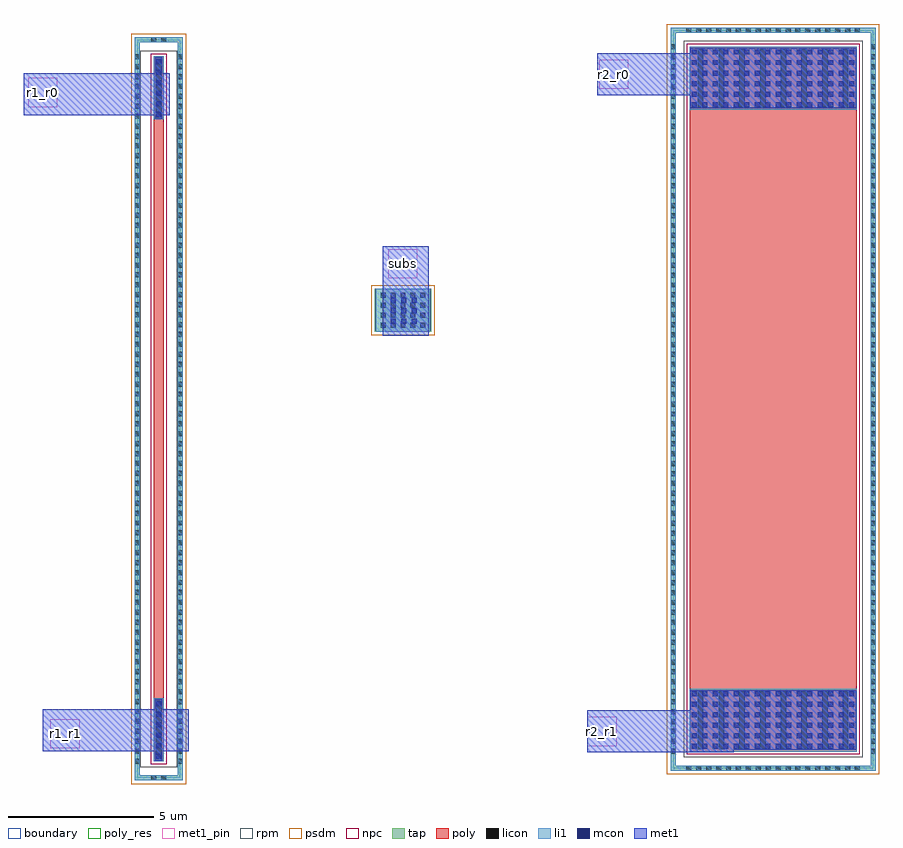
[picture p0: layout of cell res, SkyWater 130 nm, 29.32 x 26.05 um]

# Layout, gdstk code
import gdstk
lib = gdstk.Library(unit=1e-6, precision=1e-09)
def R(c, l, rs):  # rectangles x0, y0, x1, y1
    for r in rs: c.add(gdstk.rectangle(r[:2], r[2:], *l))
def A(c, l, x, y, w, h, nx, ny, dx, dy):  # array of equal rectangles
    R(c, l, [(x+i*dx, y+j*dy, x+i*dx+w, y+j*dy+h) for i in range(nx) for j in range(ny)])
tap = (65, 44)
poly_res = (66, 13)
poly = (66, 20)
licon = (66, 44)
li1 = (67, 20)
mcon = (67, 44)
met1_pin = (68, 16)
met1 = (68, 20)
rpm = (86, 20)
psdm = (94, 20)
npc = (95, 20)
boundary = (235, 4)

sky130_fd_pr__res_high_p = lib.new_cell('sky130_fd_pr__res_high_po_5p73_WUGB7G')
R(sky130_fd_pr__res_high_p, tap, [(-3.515,-12.73,3.515,-12.56), (-3.515,-12.56,-3.345,12.56), (3.345,-12.56,3.515,12.56), (-3.515,12.56,3.515,12.73)])
R(sky130_fd_pr__res_high_p, poly_res, [(-2.865,-10,2.865,10)])
R(sky130_fd_pr__res_high_p, poly, [(-2.865,-12.08,2.865,12.08)])
A(sky130_fd_pr__res_high_p, licon, -2.975, -12.73, 0.17, 0.17, 18, 2, 0.34, 25.29)
A(sky130_fd_pr__res_high_p, licon, -3.515, -12.155, 0.17, 0.17, 1, 72, 0, 0.34)
A(sky130_fd_pr__res_high_p, licon, 3.345, -12.155, 0.17, 0.17, 1, 72, 0, 0.34)
A(sky130_fd_pr__res_high_p, licon, -2.58, -12, 0.19, 2, 8, 2, 0.71, 22)
R(sky130_fd_pr__res_high_p, li1, [(-3.515,-12.73,3.515,-12.56), (-3.515,-12.56,-3.345,12.56), (3.345,-12.56,3.515,12.56), (-2.865,-12.08,2.865,-9.92), (-2.865,9.92,2.865,12.08), (-3.515,12.56,3.515,12.73)])
A(sky130_fd_pr__res_high_p, mcon, -2.785, -11.985, 0.17, 0.17, 16, 6, 0.36, 0.36)
A(sky130_fd_pr__res_high_p, mcon, -2.785, 10.01, 0.17, 0.17, 16, 6, 0.36, 0.36)
R(sky130_fd_pr__res_high_p, met1, [(-2.845,-12.02,2.845,-9.975), (-2.845,9.975,2.845,12.02)])
R(sky130_fd_pr__res_high_p, rpm, [(-3.065,-12.28,3.065,12.28)])
R(sky130_fd_pr__res_high_p, psdm, [(-3.64,-12.855,3.64,12.855)])
R(sky130_fd_pr__res_high_p, npc, [(-2.96,-12.175,2.96,12.175)])
R(sky130_fd_pr__res_high_p, boundary, [(-3.43,-12.645,3.43,12.645)])

c_sky130_fd_pr__res_high_p = lib.new_cell('sky130_fd_pr__res_high_po_0p35_QPS5FG')
R(c_sky130_fd_pr__res_high_p, tap, [(-0.825,-12.73,0.825,-12.56), (-0.825,-12.56,-0.655,12.56), (0.655,-12.56,0.825,12.56), (-0.825,12.56,0.825,12.73)])
R(c_sky130_fd_pr__res_high_p, poly_res, [(-0.175,-10,0.175,10)])
R(c_sky130_fd_pr__res_high_p, poly, [(-0.175,-12.08,0.175,12.08)])
A(c_sky130_fd_pr__res_high_p, licon, -0.825, -12.155, 0.17, 0.17, 1, 72, 0, 0.34)
A(c_sky130_fd_pr__res_high_p, licon, 0.655, -12.155, 0.17, 0.17, 1, 72, 0, 0.34)
R(c_sky130_fd_pr__res_high_p, licon, [(-0.255,-12.73,-0.085,-12.56), (0.085,-12.73,0.255,-12.56), (-0.095,-12,0.095,-10), (-0.095,10,0.095,12), (-0.255,12.56,-0.085,12.73), (0.085,12.56,0.255,12.73)])
R(c_sky130_fd_pr__res_high_p, li1, [(-0.825,-12.73,0.825,-12.56), (-0.825,-12.56,-0.655,12.56), (0.655,-12.56,0.825,12.56), (-0.175,-12.08,0.175,-9.92), (-0.175,9.92,0.175,12.08), (-0.825,12.56,0.825,12.73)])
A(c_sky130_fd_pr__res_high_p, mcon, -0.085, -11.985, 0.17, 0.17, 1, 6, 0, 0.36)
A(c_sky130_fd_pr__res_high_p, mcon, -0.085, 10.01, 0.17, 0.17, 1, 6, 0, 0.36)
R(c_sky130_fd_pr__res_high_p, met1, [(-0.125,-12.05,0.125,-9.945), (-0.125,9.945,0.125,12.05)])
R(c_sky130_fd_pr__res_high_p, rpm, [(-0.635,-12.28,0.635,12.28)])
R(c_sky130_fd_pr__res_high_p, psdm, [(-0.95,-12.855,0.95,12.855)])
R(c_sky130_fd_pr__res_high_p, npc, [(-0.27,-12.175,0.27,12.175)])
R(c_sky130_fd_pr__res_high_p, boundary, [(-0.74,-12.645,0.74,12.645)])

res = lib.new_cell('res')
R(res, tap, [(8.14,18.29,10.08,19.76)])
A(res, licon, 8.345, 18.43, 0.17, 0.17, 5, 4, 0.34, 0.34)
R(res, li1, [(8.18,18.29,10.04,19.76)])
A(res, mcon, 8.69, 18.56, 0.17, 0.17, 3, 3, 0.36, 0.36)
R(res, met1_pin, [(-2.97,4.01,-1.97,5.01), (15.43,4.09,16.43,5.09), (8.6,20.12,9.6,21.12), (-3.74,25.99,-2.74,26.99), (15.83,26.61,16.83,27.61)])
R(res, met1, [(15.43,3.88,20.44,5.32), (-3.24,3.92,1.77,5.36), (8.42,18.15,10,21.22), (-3.89,25.71,1.12,27.15), (15.77,26.4,20.78,27.84)])
R(res, psdm, [(8.015,18.165,10.205,19.885)])
res.add(gdstk.Reference(sky130_fd_pr__res_high_p, (21.795,15.98)))
res.add(gdstk.Reference(c_sky130_fd_pr__res_high_p, (0.74,15.645)))
res.add(gdstk.Label('r1_r0', (-3.24,26.49), layer=68, texttype=5))
res.add(gdstk.Label('r2_r0', (16.33,27.11), layer=68, texttype=5))
res.add(gdstk.Label('r1_r1', (-2.47,4.51), layer=68, texttype=5))
res.add(gdstk.Label('r2_r1', (15.93,4.59), layer=68, texttype=5))
res.add(gdstk.Label('subs', (9.1,20.62), layer=68, texttype=5))

lib.write_gds('res.gds')
